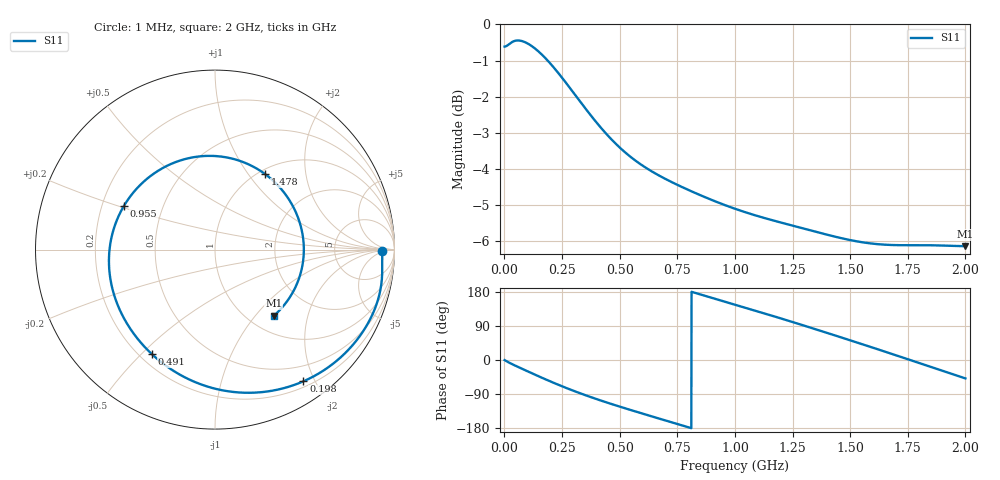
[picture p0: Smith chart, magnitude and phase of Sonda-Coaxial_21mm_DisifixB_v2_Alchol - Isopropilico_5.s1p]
! TOUCHSTONE file generated by CST MICROWAVE STUDIO
! Date and time: Sun Aug  2 11:31:15 2026
! Project name: Sonda-Coaxial_21mm_DisifixB_v2_Alchol - Isopropilico.cst
! Parameters = {h_recipiente=20; l_conector=50; r_arandela=35; r_ext=10.5; r_int=3; r_recipiente=100; z_recipiente=-100}
! Header version: 2018
! Port assignment regex: !\s*Touchstone port\s*([0-9]+)\s*=\s*(CST MWS port|CST DS port)\s*([0-9]+|Zmin|Zmax)\s*\(\"(.*)\"\)(\s*mode\s*([0-9]+))?.*
! Touchstone port assignment:
! Touchstone port 1 = CST MWS port 1 ("")
# GHz S RI R 50
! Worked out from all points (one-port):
!   2000 points, 1 MHz to 2 GHz, reference 50 ohm
!   lowest |S11| = -6.1 dB at 1.999 GHz (marker M1), VSWR 2.95, Z = 64.3 - j62.7 ohm
!   |S11| at or under -10 dB: nowhere
!   S11 on the Smith chart (normalised r, x): 1 MHz: 28, -2; 198 MHz: 0.27, -1.84; 491 MHz: 0.25, -0.54; 955 MHz: 0.29, +0.21; 1.478 GHz: 1.07, +1.21; 2 GHz: 1.28, -1.25
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0.001  0.9317 -0.00572
0.044  0.9206 -0.2289
0.085  0.8541 -0.4072
0.143  0.6896 -0.6096
0.198  0.4927 -0.7338
0.251  0.2947 -0.79
0.307  0.0989 -0.7928
0.371  -0.0927 -0.7454
0.429  -0.2334 -0.6742
0.491  -0.3527 -0.5815
0.501  -0.3693 -0.5655
0.562  -0.4566 -0.4633
0.625  -0.5234 -0.351
0.688  -0.5676 -0.2338
0.751  -0.5889 -0.1142
0.85  -0.5763 0.0695
0.955  -0.507 0.2442
1.001  -0.461 0.3107
1.131  -0.2894 0.4553
1.251  -0.0923 0.5187
1.362  0.0994 0.5059
1.478  0.28 0.4202
1.501  0.311 0.3955
1.631  0.4457 0.2184
1.751  0.4947 0.0161
1.866  0.4598 -0.1829
1.999  0.3278 -0.3689
2  0.3266 -0.37
